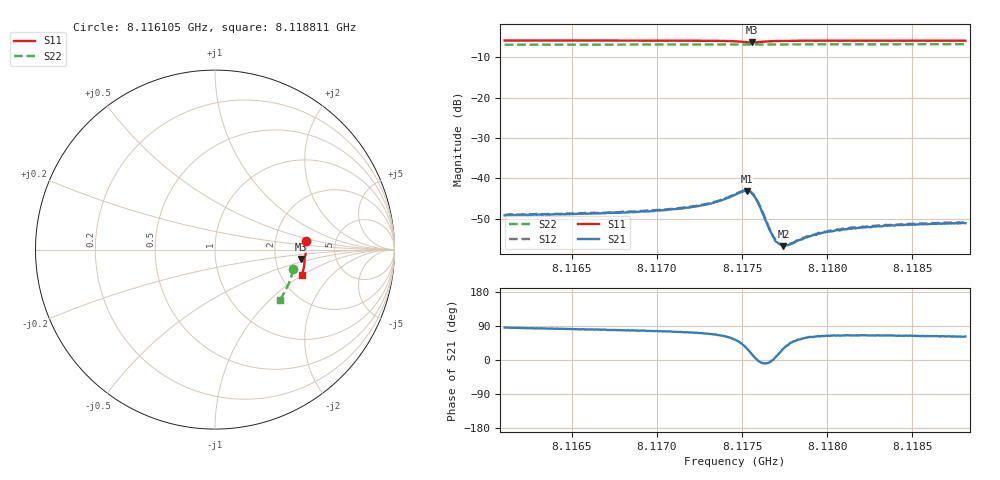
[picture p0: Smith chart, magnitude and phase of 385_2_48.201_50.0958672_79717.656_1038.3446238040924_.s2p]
#  HZ  S  RI  R  50.00
! Rohde & Schwarz Vector Network Analyzer
! Rohde-Schwarz,ZNB20-2Port,1311601062101988,3.16
! Created: UTC 3/20/2024, 11:53:17 AM
! freq[Hz]  re:S11  im:S11  re:S21  im:S21  re:S12  im:S12  re:S22  im:S22
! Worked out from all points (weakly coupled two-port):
!   401 points, 8.116105 GHz to 8.118811 GHz, reference 50 ohm
!   highest |S21| = -43.07 dB at 8.117526 GHz (marker M1); lowest = -56.7 dB at 8.117743 GHz (marker M2)
!   lowest |S11| = -6.4 dB at 8.11756 GHz (marker M3), VSWR 2.85, Z = 139 - j18.9 ohm
!   |S11| at or under -10 dB: nowhere
!   |S22| runs from -7.0 to -6.8 dB; largest |S21 - S12| = 0.00019
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8.1161054e9  0.5046 0.0503  0.000266 0.00348  0.00033 0.00355  0.4357 -0.1083
8.1165587e9  0.5062 0.0162  0.000569 0.00361  0.000606 0.00368  0.4283 -0.1389
8.1170119e9  0.5054 -0.0189  0.000969 0.00388  0.00105 0.00396  0.4186 -0.1689
8.1171878e9  0.5037 -0.0334  0.00129 0.00416  0.00136 0.00421  0.4141 -0.1806
8.1172893e9  0.5019 -0.0424  0.00165 0.00447  0.00175 0.00452  0.4117 -0.187
8.117357e9  0.4996 -0.0489  0.00212 0.00474  0.00219 0.00478  0.4097 -0.1916
8.1174584e9  0.492 -0.0591  0.00371 0.00505  0.00387 0.00511  0.4064 -0.1981
8.1175058e9  0.4841 -0.0608  0.00528 0.00444  0.00545 0.00451  0.4049 -0.2009
8.1175261e9  0.4801 -0.0592  0.006 0.00365  0.00611 0.00367  0.4041 -0.202
8.1175599e9  0.4773 -0.0522  0.00625 0.00157  0.00641 0.00156  0.4032 -0.2038
8.1175937e9  0.4816 -0.046  0.00501 -0.000159  0.00509 -0.000188  0.4025 -0.2055
8.1176682e9  0.4939 -0.0493  0.00218 -0.000165  0.00221 -0.000175  0.4009 -0.2105
8.1176884e9  0.4957 -0.0519  0.00181 0.000118  0.00185 0.000106  0.4003 -0.2117
8.1177155e9  0.4972 -0.0552  0.0015 0.000437  0.00152 0.000437  0.3997 -0.2135
8.1177426e9  0.498 -0.0583  0.00126 0.000729  0.00132 0.000715  0.3988 -0.2152
8.1177832e9  0.4986 -0.0627  0.00107 0.00108  0.00114 0.00107  0.3976 -0.2179
8.1178711e9  0.4988 -0.0713  0.000966 0.00159  0.000983 0.00159  0.3949 -0.2234
8.1179117e9  0.4985 -0.0751  0.000978 0.00171  0.001 0.00175  0.3937 -0.226
8.1179861e9  0.4979 -0.0815  0.000968 0.00195  0.000964 0.00198  0.3911 -0.2307
8.1181011e9  0.4966 -0.0908  0.000999 0.00213  0.00105 0.00216  0.3873 -0.2378
8.118365e9  0.4925 -0.111  0.0011 0.00236  0.00114 0.00238  0.3778 -0.2537
8.1188114e9  0.4836 -0.1436  0.00131 0.00247  0.00135 0.00251  0.3604 -0.2799
